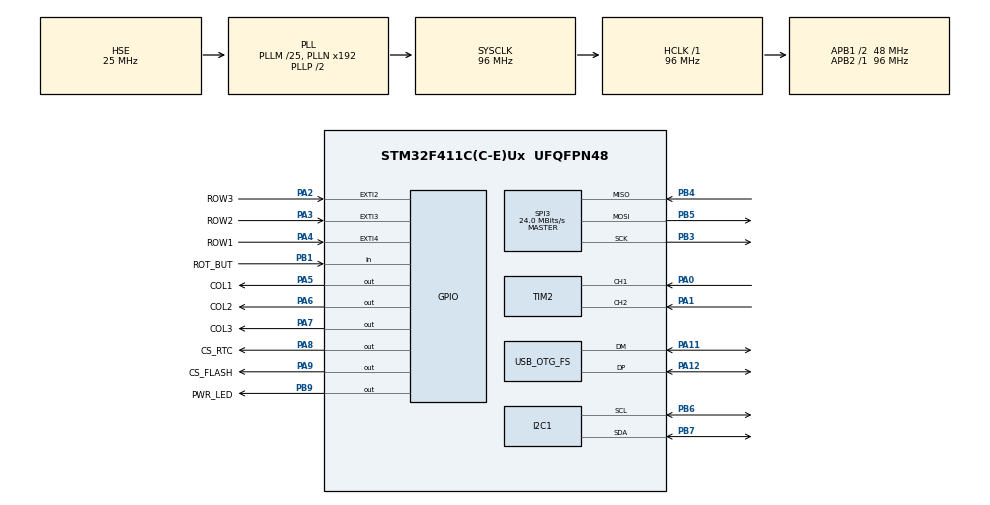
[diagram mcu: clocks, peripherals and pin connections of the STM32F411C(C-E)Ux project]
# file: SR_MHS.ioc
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I2C1.I2C_Mode=I2C_Fast
Mcu.Family=STM32F4
Mcu.Name=STM32F411C(C-E)Ux
Mcu.Package=UFQFPN48
NVIC.EXTI2_IRQn=true\:0\:0\:false\:false\:true\:true\:true
NVIC.EXTI3_IRQn=true\:0\:0\:false\:false\:true\:true\:true
NVIC.EXTI4_IRQn=true\:0\:0\:false\:false\:true\:true\:true
NVIC.OTG_FS_IRQn=true\:0\:0\:false\:false\:true\:false\:true
NVIC.PriorityGroup=NVIC_PRIORITYGROUP_4
NVIC.TIM2_IRQn=true\:0\:0\:false\:false\:true\:true\:true
PA0-WKUP.GPIO_PuPd=GPIO_PULLUP
PA0-WKUP.Signal=S_TIM2_CH1_ETR
PA1.GPIO_PuPd=GPIO_PULLUP
PA1.Signal=S_TIM2_CH2
PA11.Mode=Device_Only
PA11.Signal=USB_OTG_FS_DM
PA12.Mode=Device_Only
PA12.Signal=USB_OTG_FS_DP
PA13.Mode=Serial_Wire
PA13.Signal=SYS_JTMS-SWDIO
PA14.Mode=Serial_Wire
PA14.Signal=SYS_JTCK-SWCLK
PA2.GPIO_Label=ROW3
PA2.Signal=GPXTI2
PA3.GPIO_Label=ROW2
PA3.Signal=GPXTI3
PA4.GPIO_Label=ROW1
PA4.Signal=GPXTI4
PA5.GPIO_Label=COL1
PA5.Signal=GPIO_Output
PA6.GPIO_Label=COL2
PA6.Signal=GPIO_Output
PA7.GPIO_Label=COL3
PA7.Signal=GPIO_Output
PA8.GPIO_Label=CS_RTC
PA8.Signal=GPIO_Output
PA9.GPIO_Label=CS_FLASH
PA9.Signal=GPIO_Output
PB1.GPIO_Label=ROT_BUT
PB1.Signal=GPIO_Input
PB3.Mode=Full_Duplex_Master
PB3.Signal=SPI3_SCK
PB4.Mode=Full_Duplex_Master
PB4.Signal=SPI3_MISO
PB5.Mode=Full_Duplex_Master
PB5.Signal=SPI3_MOSI
PB6.Mode=I2C
PB6.Signal=I2C1_SCL
PB7.Mode=I2C
PB7.Signal=I2C1_SDA
PB9.GPIO_Label=PWR_LED
PB9.Signal=GPIO_Output
PC14-OSC32_IN.Mode=LSE-External-Oscillator
PC14-OSC32_IN.Signal=RCC_OSC32_IN
PC15-OSC32_OUT.Mode=LSE-External-Oscillator
PC15-OSC32_OUT.Signal=RCC_OSC32_OUT
PH0\ -\ OSC_IN.Mode=HSE-External-Oscillator
PH0\ -\ OSC_IN.Signal=RCC_OSC_IN
PH1\ -\ OSC_OUT.Mode=HSE-External-Oscillator
PH1\ -\ OSC_OUT.Signal=RCC_OSC_OUT
ProjectManager.HeapSize=0x200
ProjectManager.StackSize=0x400
ProjectManager.TargetToolchain=STM32CubeIDE
RCC.48MHZClocksFreq_Value=48000000
RCC.AHBFreq_Value=96000000
RCC.APB1CLKDivider=RCC_HCLK_DIV2
RCC.APB1Freq_Value=48000000
RCC.APB1TimFreq_Value=96000000
RCC.APB2Freq_Value=96000000
RCC.APB2TimFreq_Value=96000000
RCC.CortexFreq_Value=96000000
RCC.HCLKFreq_Value=96000000
RCC.HSE_VALUE=25000000
RCC.HSI_VALUE=16000000
RCC.PLLM=25
RCC.SYSCLKFreq_VALUE=96000000
RCC.SYSCLKSource=RCC_SYSCLKSOURCE_PLLCLK
RCC.VCOOutputFreq_Value=192000000
SH.S_TIM2_CH1_ETR.0=TIM2_CH1,Encoder_Interface
SH.S_TIM2_CH2.0=TIM2_CH2,Encoder_Interface
SPI3.BaudRatePrescaler=SPI_BAUDRATEPRESCALER_2
SPI3.CalculateBaudRate=24.0 MBits/s
SPI3.Direction=SPI_DIRECTION_2LINES
SPI3.Mode=SPI_MODE_MASTER
SPI3.VirtualType=VM_MASTER
TIM2.AutoReloadPreload=TIM_AUTORELOAD_PRELOAD_ENABLE
TIM2.EncoderMode=TIM_ENCODERMODE_TI12
TIM2.IC1Filter=10
TIM2.IC1Polarity=TIM_ICPOLARITY_FALLING
TIM2.IC2Filter=10
TIM2.IC2Polarity=TIM_ICPOLARITY_FALLING
USB_DEVICE.CLASS_NAME_FS=HID
USB_DEVICE.PRODUCT_STRING_HID_FS=STM32 Keyboard Device
USB_DEVICE.VirtualMode=Hid
USB_DEVICE.VirtualModeFS=Hid_FS
USB_OTG_FS.VirtualMode=Device_Only
VP_USB_DEVICE_VS_USB_DEVICE_HID_FS.Mode=HID_FS
board=custom

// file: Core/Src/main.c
/* USER CODE BEGIN Header */
/**
 ******************************************************************************
 * @file           : main.c
 * @brief          : Main program body
 ******************************************************************************
 * @attention
 *
 * <h2><center>&copy; Copyright (c) 2022 STMicroelectronics.
 * All rights reserved.</center></h2>
 *
 * This software component is licensed by ST under BSD 3-Clause license,
 * the "License"; You may not use this file except in compliance with the
 * License. You may obtain a copy of the License at:
 *                        opensource.org/licenses/BSD-3-Clause
 *
 ******************************************************************************
 */
/* USER CODE END Header */
#include "main.h"
#include "i2c.h"
#include "spi.h"
#include "tim.h"
#include "usb_device.h"
#include "gpio.h"

/* USER CODE BEGIN Includes */

#include <stdio.h>
#include <string.h>
#include "fonts.h"
#include "ssd1306.h"
#include "usbd_hid.h"
#include "w25qxx.h"
#include "keyboard_keys.h"

/* USER CODE END Includes */

/* USER CODE BEGIN PTD */

/*! \brief Struktura do obsługi urządzenia HID
 * 	Struktura używana przez urządzenie w trybie HID do wysyłania danych przez USB dla ramka danych
 */
typedef struct
{
	uint8_t MODIFIER;
	uint8_t RESERVED;
	uint8_t KEYCODE1;
	uint8_t KEYCODE2;
	uint8_t KEYCODE3;
	uint8_t KEYCODE4;
	uint8_t KEYCODE5;
	uint8_t KEYCODE6;
} keyboardHID;

/* USER CODE END PTD */

/* USER CODE BEGIN PV */

//---- Status urządzenia ----
uint8_t deviceFLAG = 0; //!< Tryb urządzenia: 0 -> odczytywanie haseł; 1 -> zapis haseł z serial port
uint8_t deviceState = 0; //!< Status urządzenia: 0 - login ; 1 - normal ; 99 - block
uint8_t loginTries = 5; //!< Licznik prób logowania
uint8_t login[4] = {1, 2, 3, 4}; //!< Login do urządzenia
uint8_t loginBuff[4]; //!< Buffor obecnej próby logowania
uint8_t loginCounter = 0; //!< Licznik obecnej próby logowania
//----

//---- Macierz przycisków -----
GPIO_InitTypeDef GPIO_InitStructPrivate = {0}; //!< Struktura GPIO do obsługi matrycy przycisków na przerwaniach
volatile uint8_t keyPressed = 0; //!< Numer obecnie wciśniętego przycisku
volatile uint8_t keyFlag = 0; //!< Flaga oznaczająca wciśnięcie przycisku
volatile uint32_t previousMillis = 0; //!< Poprzedni czas użycia matrycy, debouncing
volatile uint32_t currentMillis = 0; //!< Obecny czas użycia matrycy, debouncing
//----

//---- Pamięć FLASH ----
uint8_t passwordWrite[64]; //!< Buffor zapisu hasła do pamięci flash
uint8_t passwordRead[64]; //!< Buffor odczytu hasła do pamięci flash
uint8_t cipherKey[8] = "hubertus"; //!< Klucz szyfrowania XOR
//----

//--- Enkoder obrotowy ----
uint32_t counter = 0; //!< Wartość odczytana z enkodera
int16_t count = 0; //!< Wartość względna odczytana z enkodera
int16_t old_count = 0; //!< Wartość poprzednia odczytana z enkodera
//----

//---- USB Device ----
extern USBD_HandleTypeDef hUsbDeviceFS; //!< Handler urządzenia usb dla trybu HID
keyboardHID keyboardhid = {0,0,0,0,0,0,0,0}; //!< Ramka danych dla trybu HID urządzenia USB
//----

//---- USB Vitural COM ----
uint8_t DataToSend[40]; //!< Tablica zawierajaca dane do wyslania
uint8_t MessageLength = 0; //!< Zawiera dlugosc wysylanej wiadomosci

uint8_t ReceivedData[64]; //!< Tablica przechowujaca odebrane dane
uint8_t ReceivedLength; //!< Długość otrzymanego hasła
uint8_t ReceivedIter = 0; //!< Iterator do odbierania wiadomości
uint8_t ReceivedPassNr; //!< Numer strony na którym należy zapisać hasło
uint8_t ReceivedDataFlag = 0; //!< Flaga informujaca o odebraniu danych
//----

//---- Wyświetlacz OLED ---
volatile uint32_t pageNumber = 0; //!< Numer strony haseł na ekran i do logiki
//----

/* USER CODE END PV */

void SystemClock_Config(void);
/* USER CODE BEGIN PFP */

/*! \brief Funkcja szyfrująca hasło przy pomocy operacji binarnego XOR
 * 	Funkcja szyfrująca hasło przy pomocy operacji binarnego XOR, dostaje tablice char oraz klucz do szyfrowania
 */
void XORCipher(uint8_t* string, uint8_t* key)
{
	for(int i = 0; i < strlen(string); i++)
	{
		string[i] = string[i] ^ key[i % 8];
	}
}

/*! \brief Funkcja wyświetlająca ekran trybu wpisywania
 * 	Funkcja wyświetlająca ekran trybu wpisywania na wyświetlaczu OLED przy pomocy połączenia I2C
 */
void OLED_write_sc(){
	static uint32_t lastRefresh = 0;
	if(HAL_GetTick() - lastRefresh > 1000){
		SSD1306_Fill(SSD1306_COLOR_BLACK);
		SSD1306_GotoXY (4,6);
		SSD1306_Puts ("-- WRITE --", &Font_11x18, 1);
		SSD1306_GotoXY (4,25);
		SSD1306_Puts ("-- MODE  --", &Font_11x18, 1);
		SSD1306_DrawLine(0, 1, 128, 1, SSD1306_COLOR_WHITE);
		SSD1306_DrawLine(0, 0, 0, 64, SSD1306_COLOR_WHITE);
		SSD1306_DrawLine(128, 0, 128, 64, SSD1306_COLOR_WHITE);
		SSD1306_DrawLine(0, 64, 128, 64, SSD1306_COLOR_WHITE);
		SSD1306_UpdateScreen();
	}
}

/*! \brief Funkcja wyświetlająca ekran wyboru strony
 * 	Funkcja wyświetlająca ekran wyboru strony na wyświetlaczu OLED przy pomocy połączenia I2C
 */
void OLED_page_sc(){
	static uint32_t lastRefresh = 0;
	if(HAL_GetTick() - lastRefresh > 1000){
		SSD1306_Fill(SSD1306_COLOR_BLACK);
		SSD1306_GotoXY (4,6);
		SSD1306_Puts ("--MHS--", &Font_11x18, 1);
		SSD1306_GotoXY (4,25);
		SSD1306_Puts ("PAGE", &Font_11x18, 1);
		SSD1306_GotoXY (4,44);
		SSD1306_Puts ("NUMBER:", &Font_11x18, 1);
		SSD1306_DrawLine(0, 1, 128, 1, SSD1306_COLOR_WHITE);
		SSD1306_DrawLine(0, 0, 0, 64, SSD1306_COLOR_WHITE);
		SSD1306_DrawLine(128, 0, 128, 64, SSD1306_COLOR_WHITE);
		SSD1306_DrawLine(0, 64, 128, 64, SSD1306_COLOR_WHITE);
		SSD1306_DrawRectangle(100, 2, 27, 62, SSD1306_COLOR_WHITE);
		SSD1306_GotoXY (110,25);
		SSD1306_Putc ((char)(pageNumber+'0'), &Font_11x18, 1);
		SSD1306_UpdateScreen();
	}
}

/*! \brief Funkcja wyświetlająca ekran logowania
 * 	Funkcja wyświetlająca ekran logowania na wyświetlaczu OLED przy pomocy połączenia I2C
 */
void OLED_login_sc(){
	static uint32_t lastRefresh = 0;
	if(HAL_GetTick() - lastRefresh > 1000){
		SSD1306_Fill(SSD1306_COLOR_BLACK);
		SSD1306_GotoXY (4,6);
		SSD1306_Puts ("-ENTER-", &Font_11x18, 1);
		SSD1306_GotoXY (4,25);
		SSD1306_Puts ("PASSWORD", &Font_11x18, 1);
		SSD1306_GotoXY (4,44);
		SSD1306_Puts ("TRIES:", &Font_11x18, 1);
		SSD1306_DrawLine(0, 1, 128, 1, SSD1306_COLOR_WHITE);
		SSD1306_DrawLine(0, 0, 0, 64, SSD1306_COLOR_WHITE);
		SSD1306_DrawLine(128, 0, 128, 64, SSD1306_COLOR_WHITE);
		SSD1306_DrawLine(0, 64, 128, 64, SSD1306_COLOR_WHITE);
		SSD1306_DrawRectangle(100, 2, 27, 62, SSD1306_COLOR_WHITE);
		SSD1306_GotoXY (110,25);
		SSD1306_Putc ((char)(loginTries+'0'), &Font_11x18, 1);
		SSD1306_UpdateScreen();
	}
}

/*! \brief Funkcja wyświetlająca ekran blokady
 * 	Funkcja wyświetlająca ekran blokady na wyświetlaczu OLED przy pomocy połączenia I2C
 */
void OLED_block_sc(){
	static uint32_t lastRefresh = 0;
	if(HAL_GetTick() - lastRefresh > 1000){
		SSD1306_Fill(SSD1306_COLOR_BLACK);
		SSD1306_GotoXY (4,6);
		SSD1306_Puts ("- DEVICE  -", &Font_11x18, 1);
		SSD1306_GotoXY (4,25);
		SSD1306_Puts ("- BLOCKED -", &Font_11x18, 1);
		SSD1306_DrawLine(0, 1, 128, 1, SSD1306_COLOR_WHITE);
		SSD1306_DrawLine(0, 0, 0, 64, SSD1306_COLOR_WHITE);
		SSD1306_DrawLine(128, 0, 128, 64, SSD1306_COLOR_WHITE);
		SSD1306_DrawLine(0, 64, 128, 64, SSD1306_COLOR_WHITE);
		SSD1306_UpdateScreen();
	}
}

/*! \brief Funkcja przesyłająca hasło do komputera po USB
 * 	Funkcja dostaje tablice znaków char, którą po literze wysyła do komputera poprzez połączenie USB
 */
void sendUSB(uint8_t *pass){
	while(*pass != '\0'){
		for(int i=0; i<KEYS_NUM; i++){
			if(*pass == keys[i].value){
				keyboardhid.KEYCODE1 = keys[i].hex_num;
				USBD_HID_SendReport(&hUsbDeviceFS, (uint8_t*)&keyboardhid, sizeof(keyboardhid));
				HAL_Delay(50);
				keyboardhid.KEYCODE1 = 0x00;
				USBD_HID_SendReport(&hUsbDeviceFS, (uint8_t*)&keyboardhid, sizeof(keyboardhid));
				HAL_Delay(50);
				pass++;
				break;
			}
			else if(*pass == keys[i].shiftValue){
				keyboardhid.MODIFIER = 0x02;
				keyboardhid.KEYCODE1 = keys[i].hex_num;
				USBD_HID_SendReport(&hUsbDeviceFS, (uint8_t*)&keyboardhid, sizeof(keyboardhid));
				HAL_Delay(50);
				keyboardhid.MODIFIER = 0x00;
				keyboardhid.KEYCODE1 = 0x00;
				USBD_HID_SendReport(&hUsbDeviceFS, (uint8_t*)&keyboardhid, sizeof(keyboardhid));
				HAL_Delay(50);
				pass++;
				break;
			}
		}
	}
}

/* USER CODE END PFP */

int main(void)
{

	/* MCU Configuration--------------------------------------------------------*/

	/* Reset of all peripherals, Initializes the Flash interface and the Systick. */
	HAL_Init();

	/* Configure the system clock */
	SystemClock_Config();

	/* Initialize all configured peripherals */
	MX_GPIO_Init();
	MX_I2C1_Init();
	MX_SPI3_Init();
	MX_TIM2_Init();
	if(HAL_GPIO_ReadPin(ROT_BUT_GPIO_Port, ROT_BUT_Pin)){
		MX_USB_DEVICE_Init(0);
		deviceFLAG = 0;
	}else{
		MX_USB_DEVICE_Init(1);
		deviceFLAG = 1;
	}
	/* USER CODE BEGIN 2 */

	//---- Inicjalizacja wyświetlacza OLED ----
	SSD1306_Init();

	//---- Inicjalizacja obsługi enkodera ----
	HAL_TIM_Encoder_Start_IT(&htim2, TIM_CHANNEL_ALL);

	//---- Inicjalizacja pamięci FLASH ----
	W25qxx_Init();
	//---- Wypełnianie pamięci domyślnymi hasłami ----
	//W25qxx_EraseChip();
	/*
	memcpy(passwordWrite, "123456\0", sizeof(passwordWrite));
	XORCipher(passwordWrite, cipherKey);
	W25qxx_WritePage(passwordWrite, 1, 0, 64);
	memcpy(passwordWrite, "654321\0", sizeof(passwordWrite));
	XORCipher(passwordWrite, cipherKey);
	W25qxx_WritePage(passwordWrite, 2, 0, 64);
	memcpy(passwordWrite, "HaloHalo\0", sizeof(passwordWrite));
	XORCipher(passwordWrite, cipherKey);
	W25qxx_WritePage(passwordWrite, 3, 0, 64);
	memcpy(passwordWrite, "Cartoon-Duck-14-Coffee-Glvs\0", sizeof(passwordWrite));
	XORCipher(passwordWrite, cipherKey);
	W25qxx_WritePage(passwordWrite, 4, 0, 64);
	memcpy(passwordWrite, "doubleclick\0", sizeof(passwordWrite));
	XORCipher(passwordWrite, cipherKey);
	W25qxx_WritePage(passwordWrite, 5, 0, 64);
	memcpy(passwordWrite, "supersecure\0", sizeof(passwordWrite));
	XORCipher(passwordWrite, cipherKey);
	W25qxx_WritePage(passwordWrite, 6, 0, 64);
	memcpy(passwordWrite, "Qwerty\0", sizeof(passwordWrite));
	XORCipher(passwordWrite, cipherKey);
	W25qxx_WritePage(passwordWrite, 7, 0, 64);
	memcpy(passwordWrite, "DEFAULT\0", sizeof(passwordWrite));
	XORCipher(passwordWrite, cipherKey);
	W25qxx_WritePage(passwordWrite, 8, 0, 64);
	memcpy(passwordWrite, "password\0", sizeof(passwordWrite));
	XORCipher(passwordWrite, cipherKey);
	W25qxx_WritePage(passwordWrite, 9, 0, 64);
	*/
	/*
	memcpy(passwordWrite, "0\0", sizeof(passwordWrite));
	XORCipher(passwordWrite, cipherKey);
	W25qxx_WritePage(passwordWrite, 10, 0, 64);
	*/
	//---- Inicjalizacja obsługi macierzy przycisków
	HAL_GPIO_WritePin(COL1_GPIO_Port, COL1_Pin, GPIO_PIN_SET);
	HAL_GPIO_WritePin(COL2_GPIO_Port, COL2_Pin, GPIO_PIN_SET);
	HAL_GPIO_WritePin(COL3_GPIO_Port, COL3_Pin, GPIO_PIN_SET);

	//---- LED oznaczający zakończenie setupu
	HAL_GPIO_WritePin(PWR_LED_GPIO_Port, PWR_LED_Pin, 1);

	/* USER CODE END 2 */

	/* Infinite loop */
	/* USER CODE BEGIN WHILE */
	while (1)
	{
		if(deviceFLAG){  // Tryb urządzenia Virtual COM do zapisywania przesłanych haseł
			OLED_write_sc();
			uint8_t Text[] = "WRITE MODE -> len:nr:password\r\n";
			CDC_Transmit_FS(Text,strlen(Text)); /*when commented the port is recognized*/
			if(ReceivedDataFlag == 1){
				ReceivedDataFlag = 0;
				//MessageLength = sprintf(DataToSend, "Odebrano: %s\n\r", ReceivedData);
				//CDC_Transmit_FS(DataToSend, MessageLength);
				uint8_t text[64];
				ReceivedPassNr = (ReceivedData[0] - '0') * 10 + (ReceivedData[1] - '0');
				for(int i = 0; i<strlen(ReceivedData)-3; i++){
					text[i] = ReceivedData[i+3];
				}
				text[strlen(ReceivedData)-3] = '\0';
				memcpy(passwordWrite, text, sizeof(passwordWrite));
				XORCipher(passwordWrite, cipherKey);
				W25qxx_WritePage(passwordWrite, (uint32_t)ReceivedPassNr, 0, 64);
				memset(ReceivedData,0, 64);
				ReceivedPassNr = 0;
			}
			HAL_Delay(1000);
		}else{ // Tryb urządzenia HID do odczytywania haseł
			if(deviceState == 0){ // Urządzenie zablokowane -> wpisywanie hasła urządzenia
				OLED_login_sc();
				if(keyFlag){
					loginBuff[loginCounter] = keyPressed;
					loginCounter++;
					keyFlag = 0;
				}
				if(loginCounter == 4){
					if(login[0] == loginBuff[0] && login[1] == loginBuff[1] && login[2] == loginBuff[2] && login[3] == loginBuff[3]){
						deviceState = 1;
					}else{
						loginCounter = 0;
						loginTries--;
					}
				}
				if(loginTries == 0){
					deviceState = 99;
				}
			}
			else if(deviceState == 99){ // Urządzenie całkowicie zablokowane
				OLED_block_sc();
			}
			else{ // Urządzenie odblokowane -> odczyt haseł
				OLED_page_sc();
				if(keyFlag){
					W25qxx_ReadPage(passwordRead, pageNumber*9+keyPressed, 0, 64);
					XORCipher(passwordRead, cipherKey);
					sendUSB(passwordRead);
					keyFlag = 0;
				}
			}
		}
		/* USER CODE END WHILE */

	}
}

void SystemClock_Config(void)
{
	RCC_OscInitTypeDef RCC_OscInitStruct = {0};
	RCC_ClkInitTypeDef RCC_ClkInitStruct = {0};

	/** Configure the main internal regulator output voltage
	 */
	__HAL_RCC_PWR_CLK_ENABLE();
	__HAL_PWR_VOLTAGESCALING_CONFIG(PWR_REGULATOR_VOLTAGE_SCALE1);
	/** Initializes the RCC Oscillators according to the specified parameters
	 * in the RCC_OscInitTypeDef structure.
	 */
	RCC_OscInitStruct.OscillatorType = RCC_OSCILLATORTYPE_HSE;
	RCC_OscInitStruct.HSEState = RCC_HSE_ON;
	RCC_OscInitStruct.PLL.PLLState = RCC_PLL_ON;
	RCC_OscInitStruct.PLL.PLLSource = RCC_PLLSOURCE_HSE;
	RCC_OscInitStruct.PLL.PLLM = 25;
	RCC_OscInitStruct.PLL.PLLN = 192;
	RCC_OscInitStruct.PLL.PLLP = RCC_PLLP_DIV2;
	RCC_OscInitStruct.PLL.PLLQ = 4;
	if (HAL_RCC_OscConfig(&RCC_OscInitStruct) != HAL_OK)
	{
		Error_Handler();
	}
	/** Initializes the CPU, AHB and APB buses clocks
	 */
	RCC_ClkInitStruct.ClockType = RCC_CLOCKTYPE_HCLK|RCC_CLOCKTYPE_SYSCLK
			|RCC_CLOCKTYPE_PCLK1|RCC_CLOCKTYPE_PCLK2;
	RCC_ClkInitStruct.SYSCLKSource = RCC_SYSCLKSOURCE_PLLCLK;
	RCC_ClkInitStruct.AHBCLKDivider = RCC_SYSCLK_DIV1;
	RCC_ClkInitStruct.APB1CLKDivider = RCC_HCLK_DIV2;
	RCC_ClkInitStruct.APB2CLKDivider = RCC_HCLK_DIV1;

	if (HAL_RCC_ClockConfig(&RCC_ClkInitStruct, FLASH_LATENCY_3) != HAL_OK)
	{
		Error_Handler();
	}
}

/* USER CODE BEGIN 4 */
void HAL_TIM_IC_CaptureCallback(TIM_HandleTypeDef *htim)
{
	counter = __HAL_TIM_GET_COUNTER(htim);
	count = (int16_t)counter;
	if(count - old_count > 5)
	{
		if(pageNumber > 0)
			pageNumber--;
		old_count = count;
	}else if(count - old_count < -5)
	{
		if(pageNumber < 9)
			pageNumber++;
		old_count = count;
	}

}

void HAL_GPIO_EXTI_Callback(uint16_t GPIO_Pin)
{
	currentMillis = HAL_GetTick();
	if(currentMillis - previousMillis > 300)
	{
		GPIO_InitStructPrivate.Pin = ROW1_Pin|ROW2_Pin|ROW3_Pin;
		GPIO_InitStructPrivate.Mode = GPIO_MODE_INPUT;
		GPIO_InitStructPrivate.Pull = GPIO_PULLDOWN;
		GPIO_InitStructPrivate.Speed = GPIO_SPEED_FREQ_LOW;
		HAL_GPIO_Init(GPIOA, &GPIO_InitStructPrivate);

		HAL_GPIO_WritePin(COL1_GPIO_Port, COL1_Pin, GPIO_PIN_SET);
		HAL_GPIO_WritePin(COL2_GPIO_Port, COL2_Pin, GPIO_PIN_RESET);
		HAL_GPIO_WritePin(COL3_GPIO_Port, COL3_Pin, GPIO_PIN_RESET);
		if(HAL_GPIO_ReadPin(ROW1_GPIO_Port, ROW1_Pin)){
			keyPressed = 1;
		}
		else if(HAL_GPIO_ReadPin(ROW2_GPIO_Port, ROW2_Pin)){
			keyPressed = 4;
		}
		else if(HAL_GPIO_ReadPin(ROW3_GPIO_Port, ROW3_Pin)){
			keyPressed = 7;

		}
		HAL_GPIO_WritePin(COL1_GPIO_Port, COL1_Pin, GPIO_PIN_RESET);
		HAL_GPIO_WritePin(COL2_GPIO_Port, COL2_Pin, GPIO_PIN_SET);
		HAL_GPIO_WritePin(COL3_GPIO_Port, COL3_Pin, GPIO_PIN_RESET);
		if(HAL_GPIO_ReadPin(ROW1_GPIO_Port, ROW1_Pin)){
			keyPressed = 2;
		}
		else if(HAL_GPIO_ReadPin(ROW2_GPIO_Port, ROW2_Pin)){
			keyPressed = 5;
		}
		else if(HAL_GPIO_ReadPin(ROW3_GPIO_Port, ROW3_Pin)){
			keyPressed = 8;
		}
		HAL_GPIO_WritePin(COL1_GPIO_Port, COL1_Pin, GPIO_PIN_RESET);
		HAL_GPIO_WritePin(COL2_GPIO_Port, COL2_Pin, GPIO_PIN_RESET);
		HAL_GPIO_WritePin(COL3_GPIO_Port, COL3_Pin, GPIO_PIN_SET);
		if(HAL_GPIO_ReadPin(ROW1_GPIO_Port, ROW1_Pin)){
			keyPressed = 3;
		}
		else if(HAL_GPIO_ReadPin(ROW2_GPIO_Port, ROW2_Pin)){
			keyPressed = 6;
		}
		else if(HAL_GPIO_ReadPin(ROW3_GPIO_Port, ROW3_Pin)){
			keyPressed = 9;
		}

		HAL_GPIO_WritePin(COL1_GPIO_Port,COL1_Pin, GPIO_PIN_SET);
		HAL_GPIO_WritePin(COL2_GPIO_Port,COL2_Pin, GPIO_PIN_SET);
		HAL_GPIO_WritePin(COL3_GPIO_Port,COL3_Pin, GPIO_PIN_SET);

		GPIO_InitStructPrivate.Mode = GPIO_MODE_IT_RISING;
		GPIO_InitStructPrivate.Pull = GPIO_PULLDOWN;
		HAL_GPIO_Init(GPIOA, &GPIO_InitStructPrivate);

		keyFlag = 1;
		previousMillis = HAL_GetTick();
	}

}

/* USER CODE END 4 */

void Error_Handler(void)
{
}

/************************ (C) COPYRIGHT STMicroelectronics *****END OF FILE****/
